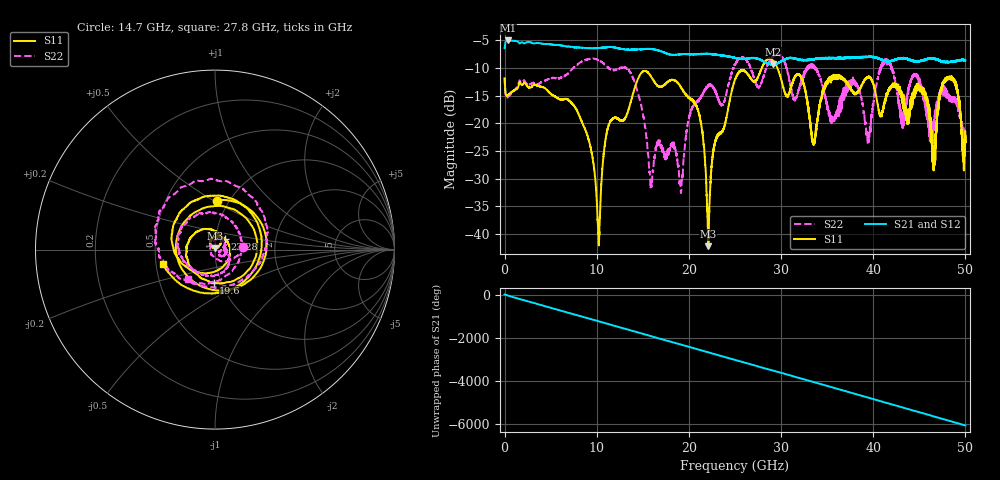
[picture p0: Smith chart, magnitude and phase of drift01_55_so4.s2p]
!Created with skrf (http://scikit-rf.org).
# Hz S RI R 50.0
!freq ReS11 ImS11 ReS21 ImS21 ReS12 ImS12 ReS22 ImS22
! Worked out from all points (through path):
!   10001 points, 300 kHz to 50 GHz, reference 50 ohm
!   highest |S21| = -5.05 dB at 335.3 MHz (marker M1); lowest = -9.4 dB at 29.12 GHz (marker M2)
!   group delay of S21, straight-line fit = 336 ps
!   lowest |S11| = -42.2 dB at 22.09 GHz (marker M3), VSWR 1.02, Z = 50 + j0.78 ohm
!   |S11| at or under -10 dB: start of sweep to 27.91 GHz; 29.59263 GHz to 29.59769 GHz (5.057 MHz wide, 0.0171 % of centre); 29.6 GHz to end of sweep
!   |S22| runs from -32.6 to -7.5 dB; largest |S21 - S12| = 0.012
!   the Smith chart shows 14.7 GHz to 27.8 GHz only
!   S11 on the Smith chart (normalised r, x): 14.7 GHz: 0.88, +0.52; 19.6 GHz: 0.92, -0.35; 23.28 GHz: 1.11, +0.13; 27.8 GHz: 0.55, -0.10
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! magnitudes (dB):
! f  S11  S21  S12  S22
! 300 kHz  -11.9  -6.5  -6.5  -11.8
! 335.3 MHz  -15.0  -5.1  -5.1  -15.3
! 8.335 GHz  -19.5  -6.4  -6.4  -8.9
! 10.21 GHz  -41.8  -6.4  -6.4  -8.6
! 11.24 GHz  -20.6  -6.2  -6.2  -9.9
! 14.7 GHz  -11.3  -6.7  -6.7  -16.0
! 15.88 GHz  -11.5  -6.6  -6.6  -30.6
! 16.67 GHz  -13.3  -6.9  -6.8  -23.3
! 19.6 GHz  -14.7  -7.5  -7.5  -23.4
! 21.22 GHz  -19.2  -7.5  -7.5  -15.6
! 22.09 GHz  -42.2  -7.5  -7.5  -13.3
! 23.28 GHz  -21.9  -7.7  -7.7  -16.1
! 25 GHz  -12.1  -8.2  -8.2  -9.4
! 27.8 GHz  -10.5  -8.5  -8.6  -13.0
! 29.12 GHz  -8.6  -9.4  -9.4  -7.9
! 33.34 GHz  -22.8  -8.5  -8.4  -9.7
! 39.47 GHz  -11.7  -8.0  -8.0  -22.2
! 41.67 GHz  -13.9  -8.8  -8.8  -9.2
! 45.47 GHz  -14.2  -8.6  -8.6  -14.9
! 46.55 GHz  -28.1  -8.3  -8.3  -20.1
! 48.56 GHz  -12.1  -8.9  -8.9  -15.6
! 50 GHz  -23.4  -8.6  -8.6  -23.0
